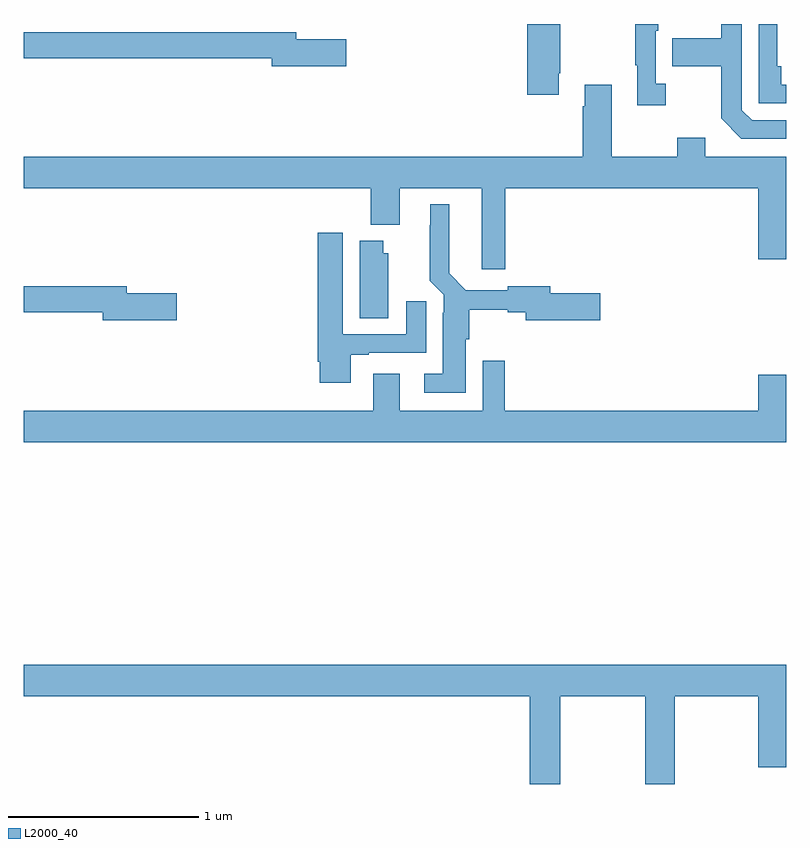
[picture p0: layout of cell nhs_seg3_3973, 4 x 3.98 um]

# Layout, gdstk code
import gdstk
lib = gdstk.Library(unit=1e-6, precision=1e-09)
def P(c, l, *ps):  # polygons
    for p in ps: c.add(gdstk.Polygon(p, *l))
L2000_40 = (2000, 40)

nhs_seg3_3973 = lib.new_cell('nhs_seg3_3973')
P(nhs_seg3_3973, L2000_40, [(320.368,744.086),(320.316,744.086),(320.316,744.365),(320.329,744.365),(320.329,744.4),(320.208,744.4),(320.208,744.185),(320.219,744.185),(320.219,743.973),(320.368,743.973)],
  [(321,743.895),(320.82,743.895),(320.766,743.949),(320.766,744.4),(320.658,744.4),(320.658,744.325),(320.401,744.325),(320.401,744.178),(320.658,744.178),(320.658,743.905),(320.763,743.799),(321,743.799)],
  [(321,744.081),(320.972,744.081),(320.972,744.178),(320.952,744.178),(320.952,744.4),(320.856,744.4),(320.856,743.985),(321,743.985)],
  [(319.807,744.142),(319.815,744.142),(319.815,744.4),(319.64,744.4),(319.64,744.03),(319.807,744.03)],
  [(318.691,744.32),(318.43,744.32),(318.43,744.356),(317,744.356),(317,744.22),(318.302,744.22),(318.302,744.178),(318.691,744.178)],
  [(319.526,743.54),(320.852,743.54),(320.852,743.166),(321,743.166),(321,743.704),(320.575,743.704),(320.575,743.803),(320.428,743.803),(320.428,743.704),(320.083,743.704),(320.083,744.082),(319.943,744.082),(319.943,743.969),(319.931,743.969),(319.931,743.704),(317,743.704),(317,743.54),(318.821,743.54),(318.821,743.348),(318.973,743.348),(318.973,743.54),(319.403,743.54),(319.403,743.115),(319.526,743.115)],
  [(319.318,742.746),(319.336,742.746),(319.336,742.903),(319.538,742.903),(319.538,742.888),(319.634,742.888),(319.634,742.846),(320.023,742.846),(320.023,742.988),(319.762,742.988),(319.762,743.024),(319.538,743.024),(319.538,743.004),(319.318,743.004),(319.231,743.092),(319.231,743.455),(319.133,743.455),(319.133,743.345),(319.129,743.345),(319.129,743.054),(319.203,742.98),(319.203,742.886),(319.199,742.886),(319.199,742.567),(319.101,742.567),(319.101,742.466),(319.318,742.466)],
  [(318.715,742.665),(318.811,742.665),(318.811,742.677),(319.111,742.677),(319.111,742.945),(319.007,742.945),(319.007,742.773),(318.673,742.773),(318.673,743.305),(318.542,743.305),(318.542,742.63),(318.554,742.63),(318.554,742.518),(318.715,742.518)],
  [(318.913,743.199),(318.886,743.199),(318.886,743.263),(318.764,743.263),(318.764,742.858),(318.913,742.858)],
  [(317.803,742.988),(317.542,742.988),(317.542,743.024),(317,743.024),(317,742.888),(317.414,742.888),(317.414,742.846),(317.803,742.846)],
  [(321,742.561),(320.852,742.561),(320.852,742.372),(319.523,742.372),(319.523,742.633),(319.407,742.633),(319.407,742.372),(318.973,742.372),(318.973,742.567),(318.833,742.567),(318.833,742.372),(317,742.372),(317,742.208),(321,742.208)],
  [(319.815,740.876),(320.26,740.876),(320.26,740.415),(320.415,740.415),(320.415,740.876),(320.852,740.876),(320.852,740.502),(321,740.502),(321,741.04),(317,741.04),(317,740.876),(319.655,740.876),(319.655,740.415),(319.815,740.415)])

lib.write_gds('nhs_seg3_3973.gds')
